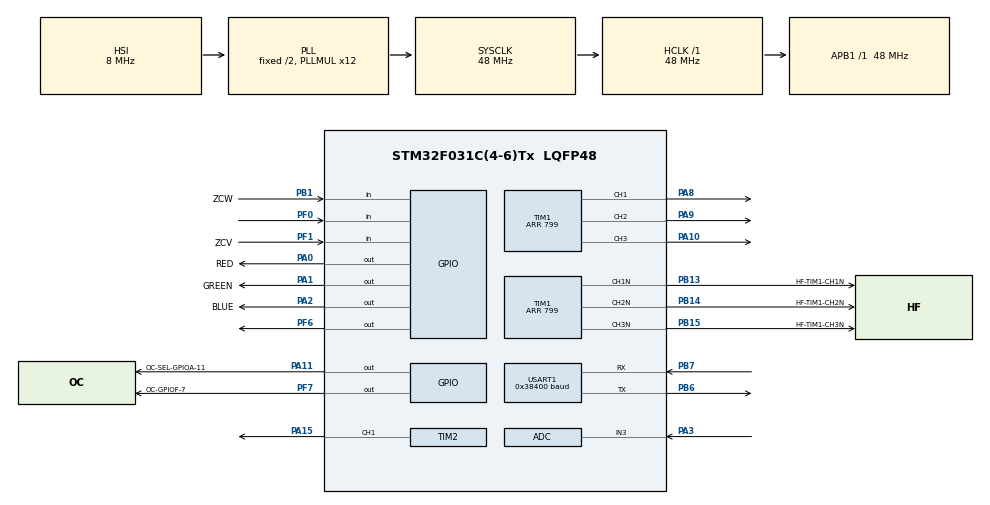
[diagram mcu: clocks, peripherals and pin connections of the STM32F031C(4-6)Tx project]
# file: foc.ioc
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Mcu.Family=STM32F0
Mcu.Name=STM32F031C(4-6)Tx
Mcu.Package=LQFP48
NVIC.TIM1_BRK_UP_TRG_COM_IRQn=true\:0\:0\:false\:false\:true\:true\:true
PA0.GPIO_Label=RED
PA0.GPIO_PuPd=GPIO_PULLUP
PA0.Signal=GPIO_Output
PA1.GPIO_Label=GREEN
PA1.GPIO_PuPd=GPIO_PULLUP
PA1.Signal=GPIO_Output
PA10.Signal=S_TIM1_CH3
PA11.GPIO_Label=OC-SEL-GPIOA-11
PA11.GPIO_PuPd=GPIO_NOPULL
PA11.Signal=GPIO_Output
PA13.Mode=Serial_Wire
PA13.Signal=SYS_SWDIO
PA14.Mode=Serial_Wire
PA14.Signal=SYS_SWCLK
PA15.Signal=S_TIM2_CH1_ETR
PA2.GPIO_Label=BLUE
PA2.GPIO_PuPd=GPIO_PULLUP
PA2.Signal=GPIO_Output
PA3.Mode=IN3
PA3.Signal=ADC_IN3
PA8.Signal=S_TIM1_CH1
PA9.Signal=S_TIM1_CH2
PB1.GPIO_Label=ZCW
PB1.Signal=GPIO_Input
PB13.GPIO_Label=HF-TIM1-CH1N
PB13.Mode=PWM Generation1 CH1 CH1N
PB13.Signal=TIM1_CH1N
PB14.GPIO_Label=HF-TIM1-CH2N
PB14.Mode=PWM Generation2 CH2 CH2N
PB14.Signal=TIM1_CH2N
PB15.GPIO_Label=HF-TIM1-CH3N
PB15.Mode=PWM Generation3 CH3 CH3N
PB15.Signal=TIM1_CH3N
PB6.Mode=Asynchronous
PB6.Signal=USART1_TX
PB7.Mode=Asynchronous
PB7.Signal=USART1_RX
PF0-OSC_IN.Signal=GPIO_Input
PF1-OSC_OUT.GPIO_Label=ZCV
PF1-OSC_OUT.GPIO_PuPd=GPIO_NOPULL
PF1-OSC_OUT.Signal=GPIO_Input
PF6.Signal=GPIO_Output
PF7.GPIO_Label=OC-GPIOF-7
PF7.GPIO_PuPd=GPIO_PULLUP
PF7.Signal=GPIO_Output
ProjectManager.HeapSize=0x200
ProjectManager.StackSize=0x400
ProjectManager.TargetToolchain=MDK-ARM V5.27
RCC.AHBFreq_Value=48000000
RCC.APB1Freq_Value=48000000
RCC.APB1TimFreq_Value=48000000
RCC.HCLKFreq_Value=48000000
RCC.PLLMUL=RCC_PLL_MUL12
RCC.SYSCLKFreq_VALUE=48000000
RCC.SYSCLKSource=RCC_SYSCLKSOURCE_PLLCLK
SH.S_TIM1_CH1.0=TIM1_CH1,PWM Generation1 CH1 CH1N
SH.S_TIM1_CH2.0=TIM1_CH2,PWM Generation2 CH2 CH2N
SH.S_TIM1_CH3.0=TIM1_CH3,PWM Generation3 CH3 CH3N
SH.S_TIM2_CH1_ETR.0=TIM2_CH1,Output Compare1 CH1
TIM1.AutoReloadPreload=TIM_AUTORELOAD_PRELOAD_ENABLE
TIM1.BreakPolarity=TIM_BREAKPOLARITY_HIGH
TIM1.BreakState=TIM_BREAK_ENABLE
TIM1.Channel-PWM\ Generation1\ CH1\ CH1N=TIM_CHANNEL_1
TIM1.Channel-PWM\ Generation2\ CH2\ CH2N=TIM_CHANNEL_2
TIM1.Channel-PWM\ Generation3\ CH3\ CH3N=TIM_CHANNEL_3
TIM1.CounterMode=TIM_COUNTERMODE_CENTERALIGNED1
TIM1.DeadTime=20
TIM1.OCNPolarity_1=TIM_OCNPOLARITY_LOW
TIM1.OCNPolarity_2=TIM_OCNPOLARITY_LOW
TIM1.OCNPolarity_3=TIM_OCNPOLARITY_LOW
TIM1.OCPolarity_1=TIM_OCPOLARITY_LOW
TIM1.OCPolarity_2=TIM_OCPOLARITY_LOW
TIM1.OCPolarity_3=TIM_OCPOLARITY_LOW
TIM1.Period=799
TIM1.Pulse-PWM\ Generation1\ CH1\ CH1N=799
TIM1.Pulse-PWM\ Generation2\ CH2\ CH2N=799
TIM1.Pulse-PWM\ Generation3\ CH3\ CH3N=799
TIM1.TIM_MasterOutputTrigger=TIM_TRGO_OC4REF
TIM1.TIM_MasterSlaveMode=TIM_MASTERSLAVEMODE_ENABLE
TIM2.Channel-Output\ Compare1\ CH1=TIM_CHANNEL_1
TIM2.Period=319
TIM3.AutoReloadPreload=TIM_AUTORELOAD_PRELOAD_ENABLE
TIM3.Period=65535
TIM3.Prescaler=11
TIM3.TIM_MasterOutputTrigger=TIM_TRGO_UPDATE
USART1.BaudRate=0x38400
USART1.VirtualMode-Asynchronous=VM_ASYNC
VP_ADC_TempSens_Input.Mode=IN-TempSens
VP_TIM1_VS_ClockSourceITR.Mode=TriggerSource_ITR2
VP_TIM1_VS_ControllerModeTrigger.Mode=Trigger Mode
VP_TIM2_VS_ClockSourceITR.Mode=TriggerSource_ITR0
VP_TIM2_VS_ControllerModeReset.Mode=Reset Mode
VP_TIM3_VS_ClockSourceINT.Mode=Internal
board=custom

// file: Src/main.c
/* USER CODE BEGIN Header */
/**
  ******************************************************************************
  * @file           : main.c
  * @brief          : Main program body
  ******************************************************************************
  * @attention
  *
  * <h2><center>&copy; Copyright (c) 2021 STMicroelectronics.
  * All rights reserved.</center></h2>
  *
  * This software component is licensed by ST under BSD 3-Clause license,
  * the "License"; You may not use this file except in compliance with the
  * License. You may obtain a copy of the License at:
  *                        opensource.org/licenses/BSD-3-Clause
  *
  ******************************************************************************
  */
/* USER CODE END Header */

#include "main.h"

/* USER CODE BEGIN Includes */
#include "User.h"
#include "stspin32f0.h"
/* USER CODE END Includes */

/* USER CODE BEGIN PTD */

//                                                  config SystemClock_Config     OK
//                                                         MX_TIM1_Init           OK       PWMOUT
//                                                         MX_TIM3_Init           OK
//                                                         MX_TIM2_Init           NO
//                                                         MX_GPIO_Init           NO  oc-pin need to be set
//

/* USER CODE END PTD */

/* USER CODE BEGIN PM */
extern SipMotorDriver_TypeDef STSPIN32F0MotorDriver;

/* USER CODE END PM */

ADC_HandleTypeDef hadc;

TIM_HandleTypeDef htim1;
TIM_HandleTypeDef htim2;
TIM_HandleTypeDef htim3;

UART_HandleTypeDef huart1;

void SystemClock_Config(void);
static void MX_GPIO_Init(void);
static void MX_TIM1_Init(void);
static void MX_TIM3_Init(void);
static void MX_TIM2_Init(void);
static void MX_ADC_Init(void);
static void MX_USART1_UART_Init(void);
/* USER CODE BEGIN PFP */

void MC_SixStep_INIT(void);
void MC_StartMotor(void);

/* USER CODE END PFP */

int main(void)
{

  /* MCU Configuration--------------------------------------------------------*/

  /* Reset of all peripherals, Initializes the Flash interface and the Systick. */
  HAL_Init();

  /* Configure the system clock */
  SystemClock_Config();

  /* Initialize all configured peripherals */
  MX_GPIO_Init();
  MX_TIM1_Init();
  MX_TIM3_Init();
  MX_TIM2_Init();
  MX_ADC_Init();
  MX_USART1_UART_Init();
  /* USER CODE BEGIN 2 */

   HAL_GPIO_WritePin(GPIOA,GPIO_PIN_0,GPIO_PIN_SET);//   BSP_BOARD_RED_LED_OFF
	 HAL_GPIO_WritePin(GPIOA,GPIO_PIN_1,GPIO_PIN_SET);//   BSP_BOARD_GREEN_LED_OFF
	 HAL_GPIO_WritePin(GPIOA,GPIO_PIN_2,GPIO_PIN_SET);//   BSP_BOARD_BLUE_LED_OFF

	  /*Set the overcurrent threshold */
	 STSPIN32F0MotorDriver.Overcurrent_Threshold_Setvalue(BSP_OC_TH_100mV);
	   /*Set the overcurrent selection */
	 STSPIN32F0MotorDriver.Overcurrent_Selection(BSP_SEL_VIS_FROM_MCU_AND_GATE_LOGIC);

     MC_SixStep_INIT();

  /* USER CODE END 2 */

  /* Infinite loop */
  while (1)
  {
   MC_StartMotor();
  }
}

void SystemClock_Config(void)
{
  RCC_OscInitTypeDef RCC_OscInitStruct = {0};
  RCC_ClkInitTypeDef RCC_ClkInitStruct = {0};
  RCC_PeriphCLKInitTypeDef PeriphClkInit = {0};

  /** Initializes the CPU, AHB and APB busses clocks
  */
  RCC_OscInitStruct.OscillatorType = RCC_OSCILLATORTYPE_HSI|RCC_OSCILLATORTYPE_HSI14;
  RCC_OscInitStruct.HSIState = RCC_HSI_ON;
  RCC_OscInitStruct.HSI14State = RCC_HSI14_ON;
  RCC_OscInitStruct.HSICalibrationValue = RCC_HSICALIBRATION_DEFAULT;
  RCC_OscInitStruct.HSI14CalibrationValue = 16;
  RCC_OscInitStruct.PLL.PLLState = RCC_PLL_ON;
  RCC_OscInitStruct.PLL.PLLSource = RCC_PLLSOURCE_HSI;
  RCC_OscInitStruct.PLL.PLLMUL = RCC_PLL_MUL12;
  RCC_OscInitStruct.PLL.PREDIV = RCC_PREDIV_DIV1;
  if (HAL_RCC_OscConfig(&RCC_OscInitStruct) != HAL_OK)
  {
    Error_Handler();
  }
  /** Initializes the CPU, AHB and APB busses clocks
  */
  RCC_ClkInitStruct.ClockType = RCC_CLOCKTYPE_HCLK|RCC_CLOCKTYPE_SYSCLK
                              |RCC_CLOCKTYPE_PCLK1;
  RCC_ClkInitStruct.SYSCLKSource = RCC_SYSCLKSOURCE_PLLCLK;
  RCC_ClkInitStruct.AHBCLKDivider = RCC_SYSCLK_DIV1;
  RCC_ClkInitStruct.APB1CLKDivider = RCC_HCLK_DIV1;

  if (HAL_RCC_ClockConfig(&RCC_ClkInitStruct, FLASH_LATENCY_1) != HAL_OK)
  {
    Error_Handler();
  }
  PeriphClkInit.PeriphClockSelection = RCC_PERIPHCLK_USART1;
  PeriphClkInit.Usart1ClockSelection = RCC_USART1CLKSOURCE_PCLK1;
  if (HAL_RCCEx_PeriphCLKConfig(&PeriphClkInit) != HAL_OK)
  {
    Error_Handler();
  }
}

static void MX_ADC_Init(void)
{

  ADC_ChannelConfTypeDef sConfig = {0};

  /** Configure the global features of the ADC (Clock, Resolution, Data Alignment and number of conversion)
  */
  hadc.Instance = ADC1;
  hadc.Init.ClockPrescaler = ADC_CLOCK_ASYNC_DIV1;
  hadc.Init.Resolution = ADC_RESOLUTION_12B;
  hadc.Init.DataAlign = ADC_DATAALIGN_RIGHT;
  hadc.Init.ScanConvMode = ADC_SCAN_DIRECTION_FORWARD;
  hadc.Init.EOCSelection = ADC_EOC_SINGLE_CONV;
  hadc.Init.LowPowerAutoWait = DISABLE;
  hadc.Init.LowPowerAutoPowerOff = DISABLE;
  hadc.Init.ContinuousConvMode = DISABLE;
  hadc.Init.DiscontinuousConvMode = DISABLE;
  hadc.Init.ExternalTrigConv = ADC_SOFTWARE_START;
  hadc.Init.ExternalTrigConvEdge = ADC_EXTERNALTRIGCONVEDGE_NONE;
  hadc.Init.DMAContinuousRequests = DISABLE;
  hadc.Init.Overrun = ADC_OVR_DATA_PRESERVED;
  if (HAL_ADC_Init(&hadc) != HAL_OK)
  {
    Error_Handler();
  }
  /** Configure for the selected ADC regular channel to be converted.
  */
  sConfig.Channel = ADC_CHANNEL_3;
  sConfig.Rank = ADC_RANK_CHANNEL_NUMBER;
  sConfig.SamplingTime = ADC_SAMPLETIME_1CYCLE_5;
  if (HAL_ADC_ConfigChannel(&hadc, &sConfig) != HAL_OK)
  {
    Error_Handler();
  }
  /** Configure for the selected ADC regular channel to be converted.
  */
  sConfig.Channel = ADC_CHANNEL_TEMPSENSOR;
  if (HAL_ADC_ConfigChannel(&hadc, &sConfig) != HAL_OK)
  {
    Error_Handler();
  }
  /* USER CODE BEGIN ADC_Init 2 */
	sConfig.Channel = ADC_CHANNEL_3;
  hadc.Init.ExternalTrigConvEdge = ADC_EXTERNALTRIGCONVEDGE_RISING;
	 if (HAL_ADC_ConfigChannel(&hadc, &sConfig) != HAL_OK)
  {
    Error_Handler();
  }
  /* USER CODE END ADC_Init 2 */

}

static void MX_TIM1_Init(void)
{

  TIM_SlaveConfigTypeDef sSlaveConfig = {0};
  TIM_MasterConfigTypeDef sMasterConfig = {0};
  TIM_OC_InitTypeDef sConfigOC = {0};
  TIM_BreakDeadTimeConfigTypeDef sBreakDeadTimeConfig = {0};

  /* USER CODE BEGIN TIM1_Init 1 */

           //    htim1.Init.AutoReloadPreload = TIM_AUTORELOAD_PRELOAD_ENABLE;  ?

  /* USER CODE END TIM1_Init 1 */
  htim1.Instance = TIM1;
  htim1.Init.Prescaler = 0;
  htim1.Init.CounterMode = TIM_COUNTERMODE_CENTERALIGNED1;
  htim1.Init.Period = 799;
  htim1.Init.ClockDivision = TIM_CLOCKDIVISION_DIV1;
  htim1.Init.RepetitionCounter = 0;
  htim1.Init.AutoReloadPreload = TIM_AUTORELOAD_PRELOAD_ENABLE;
  if (HAL_TIM_Base_Init(&htim1) != HAL_OK)
  {
    Error_Handler();
  }
  if (HAL_TIM_PWM_Init(&htim1) != HAL_OK)
  {
    Error_Handler();
  }
  sSlaveConfig.SlaveMode = TIM_SLAVEMODE_TRIGGER;
  sSlaveConfig.InputTrigger = TIM_TS_ITR2;
  if (HAL_TIM_SlaveConfigSynchro(&htim1, &sSlaveConfig) != HAL_OK)
  {
    Error_Handler();
  }
  sMasterConfig.MasterOutputTrigger = TIM_TRGO_OC4REF;
  sMasterConfig.MasterSlaveMode = TIM_MASTERSLAVEMODE_ENABLE;
  if (HAL_TIMEx_MasterConfigSynchronization(&htim1, &sMasterConfig) != HAL_OK)
  {
    Error_Handler();
  }
  sConfigOC.OCMode = TIM_OCMODE_PWM1;
  sConfigOC.Pulse = 799;
  sConfigOC.OCPolarity = TIM_OCPOLARITY_LOW;
  sConfigOC.OCNPolarity = TIM_OCNPOLARITY_LOW;
  sConfigOC.OCFastMode = TIM_OCFAST_DISABLE;
  sConfigOC.OCIdleState = TIM_OCIDLESTATE_RESET;
  sConfigOC.OCNIdleState = TIM_OCNIDLESTATE_RESET;
  if (HAL_TIM_PWM_ConfigChannel(&htim1, &sConfigOC, TIM_CHANNEL_1) != HAL_OK)
  {
    Error_Handler();
  }
  if (HAL_TIM_PWM_ConfigChannel(&htim1, &sConfigOC, TIM_CHANNEL_2) != HAL_OK)
  {
    Error_Handler();
  }
  if (HAL_TIM_PWM_ConfigChannel(&htim1, &sConfigOC, TIM_CHANNEL_3) != HAL_OK)
  {
    Error_Handler();
  }
  sBreakDeadTimeConfig.OffStateRunMode = TIM_OSSR_DISABLE;
  sBreakDeadTimeConfig.OffStateIDLEMode = TIM_OSSI_DISABLE;
  sBreakDeadTimeConfig.LockLevel = TIM_LOCKLEVEL_OFF;
  sBreakDeadTimeConfig.DeadTime = 20;
  sBreakDeadTimeConfig.BreakState = TIM_BREAK_ENABLE;
  sBreakDeadTimeConfig.BreakPolarity = TIM_BREAKPOLARITY_HIGH;
  sBreakDeadTimeConfig.AutomaticOutput = TIM_AUTOMATICOUTPUT_DISABLE;
  if (HAL_TIMEx_ConfigBreakDeadTime(&htim1, &sBreakDeadTimeConfig) != HAL_OK)
  {
    Error_Handler();
  }
  HAL_TIM_MspPostInit(&htim1);

}

static void MX_TIM2_Init(void)
{

  TIM_SlaveConfigTypeDef sSlaveConfig = {0};
  TIM_MasterConfigTypeDef sMasterConfig = {0};
  TIM_OC_InitTypeDef sConfigOC = {0};

  htim2.Instance = TIM2;
  htim2.Init.Prescaler = 0;
  htim2.Init.CounterMode = TIM_COUNTERMODE_UP;
  htim2.Init.Period = 319;
  htim2.Init.ClockDivision = TIM_CLOCKDIVISION_DIV1;
  htim2.Init.AutoReloadPreload = TIM_AUTORELOAD_PRELOAD_DISABLE;
  if (HAL_TIM_Base_Init(&htim2) != HAL_OK)
  {
    Error_Handler();
  }
  if (HAL_TIM_OC_Init(&htim2) != HAL_OK)
  {
    Error_Handler();
  }
  sSlaveConfig.SlaveMode = TIM_SLAVEMODE_RESET;
  sSlaveConfig.InputTrigger = TIM_TS_ITR0;
  if (HAL_TIM_SlaveConfigSynchro(&htim2, &sSlaveConfig) != HAL_OK)
  {
    Error_Handler();
  }
  sMasterConfig.MasterOutputTrigger = TIM_TRGO_RESET;
  sMasterConfig.MasterSlaveMode = TIM_MASTERSLAVEMODE_DISABLE;
  if (HAL_TIMEx_MasterConfigSynchronization(&htim2, &sMasterConfig) != HAL_OK)
  {
    Error_Handler();
  }
  sConfigOC.OCMode = TIM_OCMODE_TIMING;
  sConfigOC.Pulse = 0;
  sConfigOC.OCPolarity = TIM_OCPOLARITY_HIGH;
  sConfigOC.OCFastMode = TIM_OCFAST_DISABLE;
  if (HAL_TIM_OC_ConfigChannel(&htim2, &sConfigOC, TIM_CHANNEL_1) != HAL_OK)
  {
    Error_Handler();
  }
  HAL_TIM_MspPostInit(&htim2);

}

static void MX_TIM3_Init(void)
{

  /* USER CODE BEGIN TIM3_Init 0 */
	// MX_LF_TIMx_Init

           //  	 htim3.Init.AutoReloadPreload = TIM_AUTORELOAD_PRELOAD_ENABLE;

  /* USER CODE END TIM3_Init 0 */

  TIM_ClockConfigTypeDef sClockSourceConfig = {0};
  TIM_MasterConfigTypeDef sMasterConfig = {0};

  htim3.Instance = TIM3;
  htim3.Init.Prescaler = 11;
  htim3.Init.CounterMode = TIM_COUNTERMODE_UP;
  htim3.Init.Period = 65535;
  htim3.Init.ClockDivision = TIM_CLOCKDIVISION_DIV1;
  htim3.Init.AutoReloadPreload = TIM_AUTORELOAD_PRELOAD_ENABLE;
  if (HAL_TIM_Base_Init(&htim3) != HAL_OK)
  {
    Error_Handler();
  }
  sClockSourceConfig.ClockSource = TIM_CLOCKSOURCE_INTERNAL;
  if (HAL_TIM_ConfigClockSource(&htim3, &sClockSourceConfig) != HAL_OK)
  {
    Error_Handler();
  }
  sMasterConfig.MasterOutputTrigger = TIM_TRGO_UPDATE;
  sMasterConfig.MasterSlaveMode = TIM_MASTERSLAVEMODE_DISABLE;
  if (HAL_TIMEx_MasterConfigSynchronization(&htim3, &sMasterConfig) != HAL_OK)
  {
    Error_Handler();
  }

}

static void MX_USART1_UART_Init(void)
{

  huart1.Instance = USART1;
  huart1.Init.BaudRate = 0x38400;
  huart1.Init.WordLength = UART_WORDLENGTH_8B;
  huart1.Init.StopBits = UART_STOPBITS_1;
  huart1.Init.Parity = UART_PARITY_NONE;
  huart1.Init.Mode = UART_MODE_TX_RX;
  huart1.Init.HwFlowCtl = UART_HWCONTROL_NONE;
  huart1.Init.OverSampling = UART_OVERSAMPLING_16;
  huart1.Init.OneBitSampling = UART_ONE_BIT_SAMPLE_DISABLE;
  huart1.AdvancedInit.AdvFeatureInit = UART_ADVFEATURE_NO_INIT;
  if (HAL_UART_Init(&huart1) != HAL_OK)
  {
    Error_Handler();
  }

}

static void MX_GPIO_Init(void)
{
  GPIO_InitTypeDef GPIO_InitStruct = {0};

  /* GPIO Ports Clock Enable */
  __HAL_RCC_GPIOF_CLK_ENABLE();
  __HAL_RCC_GPIOA_CLK_ENABLE();
  __HAL_RCC_GPIOB_CLK_ENABLE();

  /*Configure GPIO pin Output Level */
  HAL_GPIO_WritePin(GPIOA, RED_Pin|GREEN_Pin|BLUE_Pin|OC_SEL_GPIOA_11_Pin, GPIO_PIN_RESET);

  /*Configure GPIO pin Output Level */
  HAL_GPIO_WritePin(GPIOF, GPIO_PIN_6|OC_GPIOF_7_Pin, GPIO_PIN_RESET);

  /*Configure GPIO pins : PF0 ZCV_Pin */
  GPIO_InitStruct.Pin = GPIO_PIN_0|ZCV_Pin;
  GPIO_InitStruct.Mode = GPIO_MODE_INPUT;
  GPIO_InitStruct.Pull = GPIO_NOPULL;
  HAL_GPIO_Init(GPIOF, &GPIO_InitStruct);

  /*Configure GPIO pins : RED_Pin GREEN_Pin BLUE_Pin */
  GPIO_InitStruct.Pin = RED_Pin|GREEN_Pin|BLUE_Pin;
  GPIO_InitStruct.Mode = GPIO_MODE_OUTPUT_PP;
  GPIO_InitStruct.Pull = GPIO_PULLUP;
  GPIO_InitStruct.Speed = GPIO_SPEED_FREQ_LOW;
  HAL_GPIO_Init(GPIOA, &GPIO_InitStruct);

  /*Configure GPIO pin : ZCW_Pin */
  GPIO_InitStruct.Pin = ZCW_Pin;
  GPIO_InitStruct.Mode = GPIO_MODE_INPUT;
  GPIO_InitStruct.Pull = GPIO_NOPULL;
  HAL_GPIO_Init(ZCW_GPIO_Port, &GPIO_InitStruct);

  /*Configure GPIO pin : OC_SEL_GPIOA_11_Pin */
  GPIO_InitStruct.Pin = OC_SEL_GPIOA_11_Pin;
  GPIO_InitStruct.Mode = GPIO_MODE_OUTPUT_PP;
  GPIO_InitStruct.Pull = GPIO_NOPULL;
  GPIO_InitStruct.Speed = GPIO_SPEED_FREQ_LOW;
  HAL_GPIO_Init(OC_SEL_GPIOA_11_GPIO_Port, &GPIO_InitStruct);

  /*Configure GPIO pin : PF6 */
  GPIO_InitStruct.Pin = GPIO_PIN_6;
  GPIO_InitStruct.Mode = GPIO_MODE_OUTPUT_PP;
  GPIO_InitStruct.Pull = GPIO_NOPULL;
  GPIO_InitStruct.Speed = GPIO_SPEED_FREQ_LOW;
  HAL_GPIO_Init(GPIOF, &GPIO_InitStruct);

  /*Configure GPIO pin : OC_GPIOF_7_Pin */
  GPIO_InitStruct.Pin = OC_GPIOF_7_Pin;
  GPIO_InitStruct.Mode = GPIO_MODE_OUTPUT_PP;
  GPIO_InitStruct.Pull = GPIO_PULLUP;
  GPIO_InitStruct.Speed = GPIO_SPEED_FREQ_LOW;
  HAL_GPIO_Init(OC_GPIOF_7_GPIO_Port, &GPIO_InitStruct);

}

void Error_Handler(void)
{
  /* USER CODE BEGIN Error_Handler_Debug */
  /* User can add his own implementation to report the HAL error return state */

   HAL_GPIO_WritePin(GPIOA,GPIO_PIN_0,GPIO_PIN_SET);
  while (1)
  {
    HAL_Delay(500);
    HAL_GPIO_TogglePin(GPIOA,GPIO_PIN_0);
  }

  /* USER CODE END Error_Handler_Debug */
}

/************************ (C) COPYRIGHT STMicroelectronics *****END OF FILE****/
